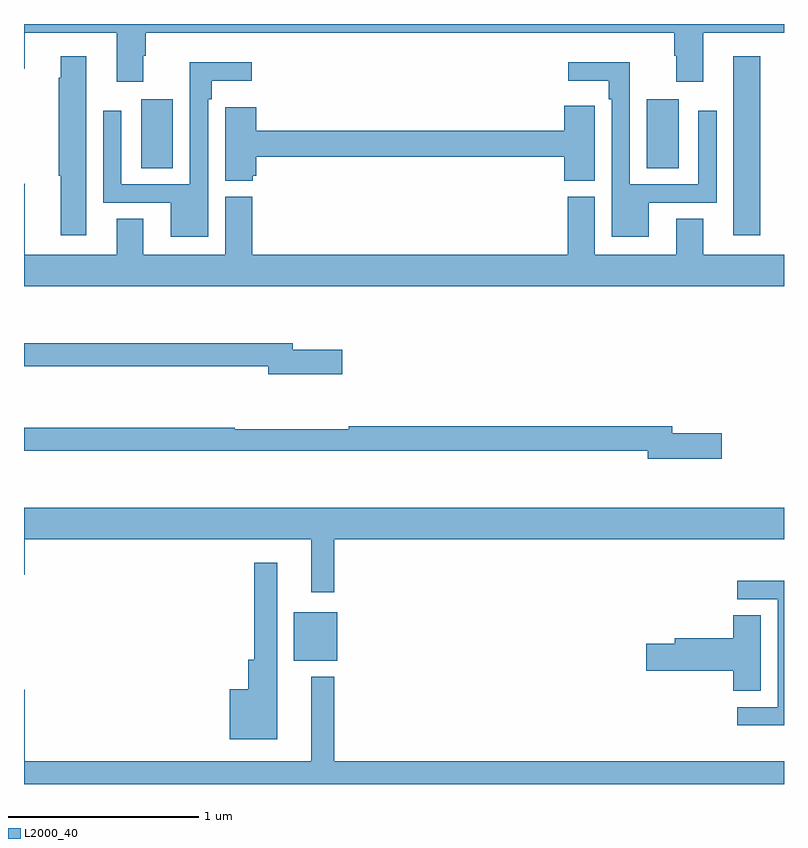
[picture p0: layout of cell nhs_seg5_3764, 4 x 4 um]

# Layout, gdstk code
import gdstk
lib = gdstk.Library(unit=1e-6, precision=1e-09)
def R(c, l, rs):  # rectangles x0, y0, x1, y1
    for r in rs: c.add(gdstk.rectangle(r[:2], r[2:], *l))
def P(c, l, *ps):  # polygons
    for p in ps: c.add(gdstk.Polygon(p, *l))
L2000_40 = (2000, 40)

nhs_seg5_3764 = lib.new_cell('nhs_seg5_3764')
R(nhs_seg5_3764, L2000_40, [(334.421,861.449,334.648,861.703), (336.734,863.688,336.876,864.628), (333.617,864.04,333.784,864.403), (336.278,864.04,336.445,864.403)])
P(nhs_seg5_3764, L2000_40, [(333.628,864.632),(333.641,864.632),(333.641,864.752),(336.422,864.752),(336.422,864.632),(336.434,864.632),(336.434,864.495),(336.574,864.495),(336.574,864.752),(337,864.752),(337,864.799),(333,864.799),(333,864.564),(333.004,864.564),(333.004,864.752),(333.488,864.752),(333.488,864.495),(333.628,864.495)],
  [(333.328,864.628),(333.194,864.628),(333.194,864.515),(333.182,864.515),(333.182,864),(333.194,864),(333.194,863.688),(333.328,863.688)],
  [(336.289,863.859),(336.645,863.859),(336.645,864.343),(336.549,864.343),(336.549,863.955),(336.189,863.955),(336.189,864.598),(335.865,864.598),(335.865,864.5),(336.077,864.5),(336.077,864.404),(336.093,864.404),(336.093,863.678),(336.289,863.678)],
  [(333.969,864.404),(333.989,864.404),(333.989,864.5),(334.198,864.5),(334.198,864.598),(333.873,864.598),(333.873,863.955),(333.513,863.955),(333.513,864.343),(333.417,864.343),(333.417,863.859),(333.773,863.859),(333.773,863.678),(333.969,863.678)],
  [(336.004,864.257),(336.003,864.257),(336.003,864.37),(335.843,864.37),(335.843,864.236),(334.222,864.236),(334.222,864.361),(334.058,864.361),(334.058,863.975),(334.203,863.975),(334.203,864),(334.222,864),(334.222,864.1),(335.843,864.1),(335.843,863.974),(336.004,863.974)],
  [(337,863.584),(336.574,863.584),(336.574,863.774),(336.434,863.774),(336.434,863.584),(336.004,863.584),(336.004,863.889),(335.861,863.889),(335.861,863.584),(334.202,863.584),(334.202,863.89),(334.058,863.89),(334.058,863.584),(333.628,863.584),(333.628,863.774),(333.488,863.774),(333.488,863.584),(333.004,863.584),(333.004,863.959),(333,863.959),(333,863.42),(337,863.42)],
  [(334.675,863.085),(334.414,863.085),(334.414,863.119),(333,863.119),(333,862.998),(334.286,862.998),(334.286,862.955),(334.675,862.955)],
  [(336.673,862.646),(336.412,862.646),(336.412,862.682),(334.708,862.682),(334.708,862.667),(334.108,862.667),(334.108,862.675),(333,862.675),(333,862.554),(336.284,862.554),(336.284,862.511),(336.673,862.511)],
  [(334.633,862.088),(337,862.088),(337,862.252),(333,862.252),(333,861.9),(333.004,861.9),(333.004,862.088),(334.511,862.088),(334.511,861.807),(334.633,861.807)],
  [(334.333,861.964),(334.212,861.964),(334.212,861.454),(334.181,861.454),(334.181,861.298),(334.082,861.298),(334.082,861.035),(334.333,861.035)],
  [(337,861.87),(336.753,861.87),(336.753,861.771),(336.966,861.771),(336.966,861.204),(336.753,861.204),(336.753,861.108),(337,861.108)],
  [(336.877,861.686),(336.734,861.686),(336.734,861.566),(336.425,861.566),(336.425,861.536),(336.276,861.536),(336.276,861.394),(336.734,861.394),(336.734,861.289),(336.877,861.289)],
  [(337,860.92),(334.633,860.92),(334.633,861.364),(334.511,861.364),(334.511,860.92),(333.004,860.92),(333.004,861.295),(333,861.295),(333,860.799),(337,860.799)])

lib.write_gds('nhs_seg5_3764.gds')
